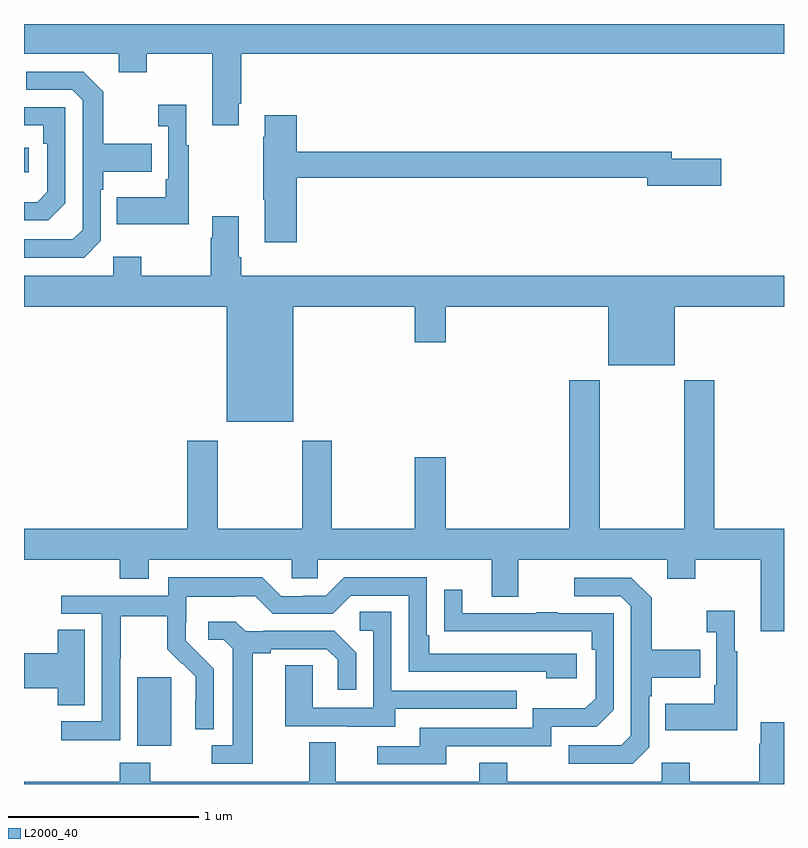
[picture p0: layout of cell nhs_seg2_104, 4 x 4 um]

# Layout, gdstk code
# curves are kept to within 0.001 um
import gdstk
lib = gdstk.Library(unit=1e-6, precision=1e-09)
def R(c, l, rs):  # rectangles x0, y0, x1, y1
    for r in rs: c.add(gdstk.rectangle(r[:2], r[2:], *l))
def P(c, l, *ps):  # polygons
    for p in ps: c.add(gdstk.Polygon(p, *l))
L2000_40 = (2000, 40)

nhs_seg2_104 = lib.new_cell('nhs_seg2_104')
R(nhs_seg2_104, L2000_40, [(115.595,636.002,115.774,636.363), (115,639.02,115.024,639.15)])
P(nhs_seg2_104, L2000_40, [(116.131,639.379),(116.144,639.379),(116.144,639.644),(119,639.644),(119,639.8),(115,639.8),(115,639.644),(115.499,639.644),(115.499,639.545),(115.647,639.545),(115.647,639.644),(115.991,639.644),(115.991,639.267),(116.131,639.267)],
  [(115.404,638.658),(115.404,638.927),(115.417,638.927),(115.417,639.023),(115.673,639.023),(115.673,639.171),(115.417,639.171),(115.417,639.443),(115.311,639.549),(115.011,639.549),(115.011,639.453),(115.254,639.453),(115.308,639.399),(115.308,638.718),(115.257,638.667),(115,638.667),(115,638.571),(115.317,638.571)],
  [(115.867,639.163),(115.855,639.163),(115.855,639.376),(115.707,639.376),(115.707,639.263),(115.758,639.263),(115.758,638.983),(115.746,638.983),(115.746,638.887),(115.489,638.887),(115.489,638.747),(115.867,638.747)],
  [(115.218,638.856),(115.218,639.363),(115,639.363),(115,639.267),(115.102,639.267),(115.102,639.17),(115.122,639.17),(115.122,638.916),(115.069,638.863),(115,638.863),(115,638.766),(115.128,638.766)],
  [(116.435,638.992),(118.28,638.992),(118.28,638.95),(118.669,638.95),(118.669,639.092),(118.408,639.092),(118.408,639.128),(116.435,639.128),(116.435,639.319),(116.267,639.319),(116.267,639.206),(116.26,639.206),(116.26,638.875),(116.267,638.875),(116.267,638.652),(116.435,638.652)],
  [(116.416,638.312),(117.056,638.312),(117.056,638.124),(117.22,638.124),(117.22,638.312),(118.076,638.312),(118.076,638.003),(118.426,638.003),(118.426,638.312),(119,638.312),(119,638.476),(116.144,638.476),(116.144,638.572),(116.131,638.572),(116.131,638.788),(115.991,638.788),(115.991,638.675),(115.984,638.675),(115.984,638.476),(115.617,638.476),(115.617,638.575),(115.47,638.575),(115.47,638.476),(115,638.476),(115,638.312),(116.066,638.312),(116.066,637.706),(116.416,637.706)],
  [(119,637.144),(118.634,637.144),(118.634,637.924),(118.474,637.924),(118.474,637.144),(118.029,637.144),(118.029,637.924),(117.869,637.924),(117.869,637.144),(117.22,637.144),(117.22,637.519),(117.056,637.519),(117.056,637.144),(116.619,637.144),(116.619,637.606),(116.464,637.606),(116.464,637.144),(116.019,637.144),(116.019,637.606),(115.859,637.606),(115.859,637.144),(115,637.144),(115,636.98),(115.505,636.98),(115.505,636.881),(115.657,636.881),(115.657,636.98),(116.409,636.98),(116.409,636.882),(116.547,636.882),(116.547,636.98),(117.461,636.98),(117.461,636.786),(117.601,636.786),(117.601,636.98),(118.385,636.98),(118.385,636.881),(118.533,636.881),(118.533,636.98),(118.877,636.98),(118.877,636.603),(119,636.603)],
  [(115.506,636.46),(115.509,636.46),(115.509,636.684),(115.753,636.684),(115.753,636.509),(115.83,636.432),(115.833,636.435),(115.904,636.365),(115.904,636.242),(115.902,636.242),(115.902,636.088),(115.998,636.088),(115.998,636.406),(115.852,636.554),(115.852,636.651),(115.854,636.651),(115.854,636.785),(116.117,636.785),(116.117,636.789),(116.217,636.789),(116.31,636.696),(116.625,636.696),(116.721,636.792),(117.024,636.792),(117.024,636.39),(117.749,636.39),(117.749,636.356),(117.91,636.356),(117.91,636.486),(117.133,636.486),(117.133,636.583),(117.12,636.583),(117.12,636.888),(116.685,636.888),(116.589,636.792),(116.471,636.792),(116.471,636.789),(116.355,636.789),(116.255,636.889),(115.758,636.889),(115.758,636.792),(115.197,636.792),(115.197,636.696),(115.41,636.696),(115.41,636.129),(115.197,636.129),(115.197,636.031),(115.506,636.031)],
  [(118.29,635.994),(118.29,636.263),(118.303,636.263),(118.303,636.359),(118.559,636.359),(118.559,636.507),(118.303,636.507),(118.303,636.779),(118.197,636.885),(117.897,636.885),(117.897,636.789),(118.14,636.789),(118.194,636.735),(118.194,636.054),(118.143,636.003),(117.867,636.003),(117.867,635.907),(118.203,635.907)],
  [(117.223,636),(117.774,636),(117.774,636.102),(118.014,636.102),(118.104,636.192),(118.104,636.699),(117.809,636.699),(117.809,636.704),(117.697,636.704),(117.697,636.699),(117.307,636.699),(117.307,636.823),(117.211,636.823),(117.211,636.604),(117.988,636.603),(117.988,636.506),(118.008,636.506),(118.008,636.252),(117.955,636.199),(117.678,636.199),(117.678,636.096),(117.083,636.096),(117.083,636),(116.859,636),(116.859,635.904),(117.223,635.904)],
  [(118.753,636.499),(118.741,636.499),(118.741,636.712),(118.593,636.712),(118.593,636.599),(118.644,636.599),(118.644,636.319),(118.632,636.319),(118.632,636.223),(118.375,636.223),(118.375,636.083),(118.753,636.083)],
  [(116.953,636.195),(117.593,636.195),(117.593,636.291),(116.934,636.291),(116.934,636.707),(116.766,636.707),(116.766,636.606),(116.838,636.606),(116.838,636.201),(116.52,636.201),(116.52,636.425),(116.375,636.425),(116.375,636.105),(116.699,636.105),(116.699,636.101),(116.953,636.101)],
  [(116.203,636.488),(116.299,636.488),(116.299,636.51),(116.594,636.51),(116.651,636.453),(116.651,636.297),(116.748,636.297),(116.748,636.49),(116.632,636.606),(116.26,636.606),(116.26,636.603),(116.166,636.603),(116.114,636.655),(115.971,636.655),(115.971,636.558),(116.052,636.558),(116.099,636.511),(116.099,636.003),(115.989,636.003),(115.989,635.907),(116.203,635.907)],
  [(115.321,636.611),(115.178,636.611),(115.178,636.488),(115,636.488),(115,636.305),(115.178,636.305),(115.178,636.214),(115.321,636.214)],
  [(119,636.124),(118.877,636.124),(118.877,636.011),(118.87,636.011),(118.87,635.812),(118.503,635.812),(118.503,635.911),(118.356,635.911),(118.356,635.812),(117.543,635.812),(117.543,635.911),(117.395,635.911),(117.395,635.812),(116.641,635.812),(116.641,636.02),(116.501,636.02),(116.501,635.812),(115.665,635.812),(115.665,635.911),(115.505,635.911),(115.505,635.812),(115,635.812),(115,635.8),(119,635.8)])

lib.write_gds('nhs_seg2_104.gds')
